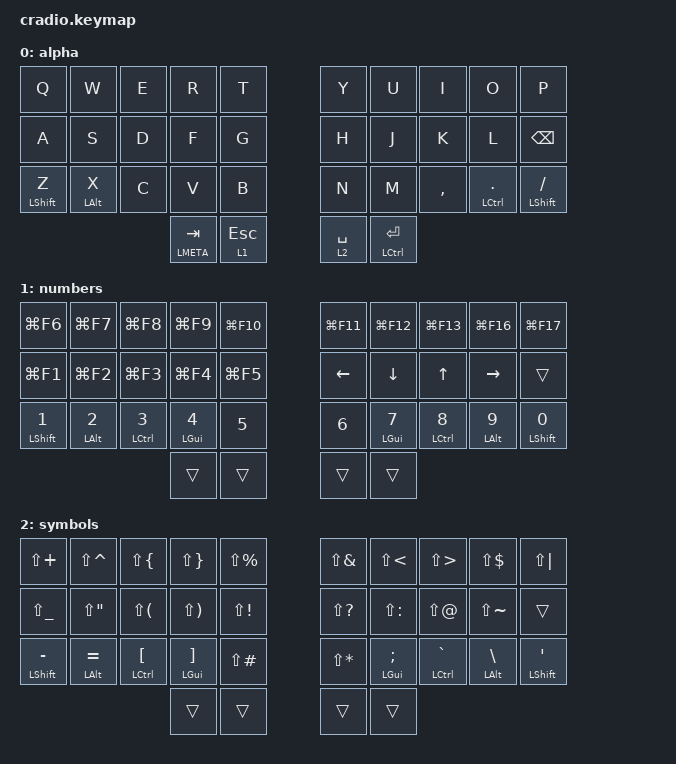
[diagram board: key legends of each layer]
#include <behaviors.dtsi>
#include <dt-bindings/zmk/keys.h>

/ {
    combos {
        compatible = "zmk,combos";

        caps_word {
            bindings = <&caps_word>;
            key-positions = <13 16>;
            layers = <0>;
        };
    };

    keymap {
        compatible = "zmk,keymap";

        alpha {
            bindings = <
&kp Q         &kp W       &kp E  &kp R          &kp T        &kp Y        &kp U            &kp I      &kp O          &kp P
&kp A         &kp S       &kp D  &kp F          &kp G        &kp H        &kp J            &kp K      &kp L          &kp BSPC
&mt LSHIFT Z  &mt LALT X  &kp C  &kp V          &kp B        &kp N        &kp M            &kp COMMA  &mt LCTRL DOT  &mt LSHIFT SLASH
                                 &mt LMETA TAB  &lt 1 ESC    &lt 2 SPACE  &mt LCTRL ENTER
            >;
        };

        numbers {
            bindings = <
&kp LG(F6)     &kp LG(F7)   &kp LG(F8)    &kp LG(F9)   &kp LG(F10)    &kp LG(F11)  &kp LG(F12)  &kp LG(F13)   &kp LG(F16)  &kp LG(F17)
&kp LG(F1)     &kp LG(F2)   &kp LG(F3)    &kp LG(F4)   &kp LG(F5)     &kp LEFT     &kp DOWN     &kp UP        &kp RIGHT    &trans
&mt LSHIFT N1  &mt LALT N2  &mt LCTRL N3  &mt LGUI N4  &kp N5         &kp N6       &mt LGUI N7  &mt LCTRL N8  &mt LALT N9  &mt LSHIFT N0
                                          &trans       &trans         &trans       &trans
            >;
        };

        symbols {
            bindings = <
&kp LS(PLUS)      &kp LS(CARET)   &kp LS(LBRC)    &kp LS(RBRC)   &kp LS(PRCNT)    &kp LS(AMPS)   &kp LS(LT)     &kp LS(GT)       &kp LS(DLLR)   &kp LS(PIPE)
&kp LS(UNDER)     &kp LS(DQT)     &kp LS(LPAR)    &kp LS(RPAR)   &kp LS(EXCL)     &kp LS(QMARK)  &kp LS(COLON)  &kp LS(AT)       &kp LS(TILDE)  &trans
&mt LSHIFT MINUS  &mt LALT EQUAL  &mt LCTRL LBKT  &mt LGUI RBKT  &kp LS(POUND)    &kp LS(STAR)   &mt LGUI SEMI  &mt LCTRL GRAVE  &mt LALT BSLH  &mt LSHIFT SQT
                                                  &trans         &trans           &trans         &trans
            >;
        };
    };
};
